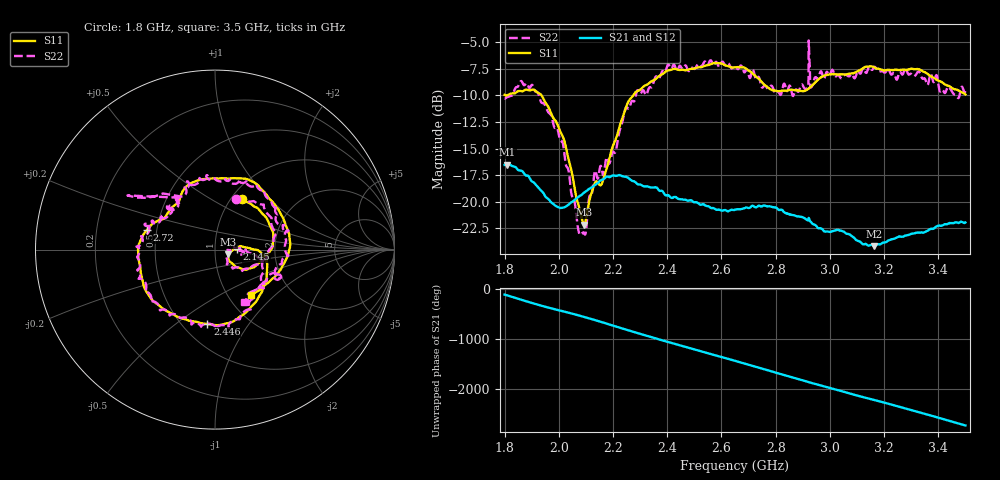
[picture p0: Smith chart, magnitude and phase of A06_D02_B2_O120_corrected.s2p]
! Created with skrf 1.9.0 (http://scikit-rf.org).
# Hz S RI R 50.0
!freq ReS11 ImS11 ReS21 ImS21 ReS12 ImS12 ReS22 ImS22
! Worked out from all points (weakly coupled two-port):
!   1601 points, 1.8 GHz to 3.5 GHz, reference 50 ohm
!   highest |S21| = -16.49 dB at 1.81 GHz (marker M1); lowest = -24.2 dB at 3.163 GHz (marker M2)
!   lowest |S11| = -22.1 dB at 2.093 GHz (marker M3), VSWR 1.17, Z = 57.8 - j3.08 ohm
!   |S11| at or under -10 dB: 1.805946 GHz to 1.807006 GHz (1.06 MHz wide, 0.0587 % of centre); 1.936 GHz to 2.274 GHz (337.4 MHz wide, 16 % of centre)
!   |S22| runs from -23.1 to -4.8 dB; largest |S21 - S12| = 0.0025
!   S11 on the Smith chart (normalised r, x): 1.8 GHz: 1.12, +0.70; 2.145 GHz: 1.28, +0.01; 2.446 GHz: 0.66, -0.66; 2.72 GHz: 0.44, +0.11; 3.5 GHz: 1.27, -0.71
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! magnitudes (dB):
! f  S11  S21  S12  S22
! 1.8 GHz  -9.9  -16.5  -16.5  -10.3
! 1.81 GHz  -10.0  -16.5  -16.5  -10.1
! 1.901 GHz  -9.5  -18.1  -18.0  -9.0
! 1.967 GHz  -11.4  -19.9  -19.9  -11.7
! 2.02 GHz  -14.2  -20.5  -20.5  -15.4
! 2.084 GHz  -21.4  -19.4  -19.3  -23.0
! 2.093 GHz  -22.1  -19.1  -19.2  -22.9
! 2.13 GHz  -18.4  -18.5  -18.5  -17.4
! 2.145 GHz  -18.2  -18.2  -18.2  -17.7
! 2.208 GHz  -14.2  -17.6  -17.5  -15.4
! 2.258 GHz  -10.5  -17.8  -17.8  -11.2
! 2.367 GHz  -8.2  -18.8  -18.8  -8.4
! 2.446 GHz  -7.6  -19.7  -19.7  -7.2
! 2.65 GHz  -7.4  -20.7  -20.7  -7.2
! 2.72 GHz  -8.1  -20.4  -20.3  -7.9
! 2.812 GHz  -9.6  -20.8  -20.6  -9.7
! 2.934 GHz  -9.1  -22.0  -22.0  -9.2
! 3.163 GHz  -7.3  -24.2  -24.1  -7.3
! 3.217 GHz  -7.6  -23.6  -23.6  -7.6
! 3.329 GHz  -7.5  -22.9  -22.9  -7.8
! 3.414 GHz  -8.8  -22.2  -22.2  -9.4
! 3.5 GHz  -9.9  -21.9  -21.9  -9.6
